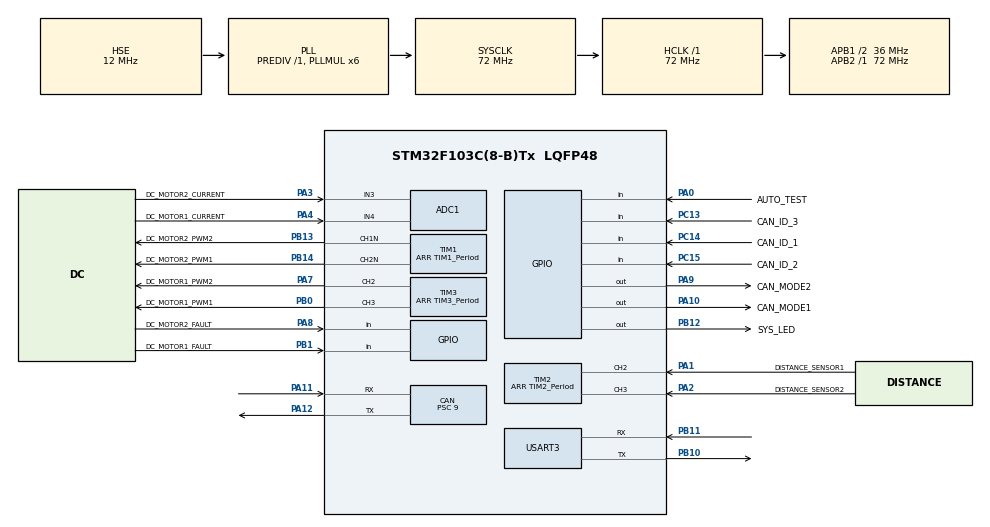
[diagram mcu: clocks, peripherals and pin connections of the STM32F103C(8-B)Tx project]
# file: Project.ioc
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ADC1.Channel-0\#ChannelRegularConversion=ADC_CHANNEL_3
ADC1.Channel-1\#ChannelRegularConversion=ADC_CHANNEL_4
ADC1.Channel-2\#ChannelRegularConversion=ADC_CHANNEL_TEMPSENSOR
ADC1.NbrOfConversion=3
ADC1.NbrOfConversionFlag=1
ADC1.Rank-0\#ChannelRegularConversion=1
ADC1.Rank-1\#ChannelRegularConversion=2
ADC1.Rank-2\#ChannelRegularConversion=3
ADC1.SamplingTime-0\#ChannelRegularConversion=ADC_SAMPLETIME_239CYCLES_5
ADC1.SamplingTime-1\#ChannelRegularConversion=ADC_SAMPLETIME_239CYCLES_5
ADC1.SamplingTime-2\#ChannelRegularConversion=ADC_SAMPLETIME_239CYCLES_5
ADC1.master=1
CAN.AWUM=ENABLE
CAN.BS1=CAN_BS1_8TQ
CAN.BS2=CAN_BS2_7TQ
CAN.CalculateBaudRate=250000
CAN.CalculateTimeBit=4000
CAN.CalculateTimeQuantum=250.0
CAN.Mode=CAN_MODE_NORMAL
CAN.Prescaler=9
CAN.RFLM=ENABLE
CAN.SJW=CAN_SJW_2TQ
CAN.TXFP=ENABLE
Dma.ADC1.2.Direction=DMA_PERIPH_TO_MEMORY
Dma.ADC1.2.Instance=DMA1_Channel1
Dma.ADC1.2.MemDataAlignment=DMA_MDATAALIGN_HALFWORD
Dma.ADC1.2.MemInc=DMA_MINC_ENABLE
Dma.ADC1.2.Mode=DMA_NORMAL
Dma.ADC1.2.PeriphDataAlignment=DMA_PDATAALIGN_HALFWORD
Dma.ADC1.2.PeriphInc=DMA_PINC_DISABLE
Dma.ADC1.2.Priority=DMA_PRIORITY_LOW
Dma.Request0=USART3_TX
Dma.Request1=USART3_RX
Dma.Request2=ADC1
Dma.USART3_RX.1.Direction=DMA_PERIPH_TO_MEMORY
Dma.USART3_RX.1.Instance=DMA1_Channel3
Dma.USART3_RX.1.MemDataAlignment=DMA_MDATAALIGN_BYTE
Dma.USART3_RX.1.MemInc=DMA_MINC_ENABLE
Dma.USART3_RX.1.Mode=DMA_NORMAL
Dma.USART3_RX.1.PeriphDataAlignment=DMA_PDATAALIGN_BYTE
Dma.USART3_RX.1.PeriphInc=DMA_PINC_DISABLE
Dma.USART3_RX.1.Priority=DMA_PRIORITY_MEDIUM
Dma.USART3_TX.0.Direction=DMA_MEMORY_TO_PERIPH
Dma.USART3_TX.0.Instance=DMA1_Channel2
Dma.USART3_TX.0.MemDataAlignment=DMA_MDATAALIGN_BYTE
Dma.USART3_TX.0.MemInc=DMA_MINC_ENABLE
Dma.USART3_TX.0.Mode=DMA_NORMAL
Dma.USART3_TX.0.PeriphDataAlignment=DMA_PDATAALIGN_BYTE
Dma.USART3_TX.0.PeriphInc=DMA_PINC_DISABLE
Dma.USART3_TX.0.Priority=DMA_PRIORITY_MEDIUM
FREERTOS.BinarySemaphores01=uart3RxBinarySem,Dynamic,NULL;ADC_IRQ_BinarySem,Dynamic,NULL
FREERTOS.Mutexes01=myMutexSendQueue,Dynamic,NULL
FREERTOS.Queues01=canReceiveData,5,12,1,Dynamic,NULL,NULL;canTransferData,20,12,1,Dynamic,NULL,NULL
FREERTOS.Tasks01=mainTask,24,256,StartMainTask,Default,NULL,Dynamic,NULL,NULL;canTask,32,256,StartCanTask,Default,NULL,Dynamic,NULL,NULL;uart3RxTask,27,256,StartUart3RxTask,Default,NULL,Dynamic,NULL,NULL;uart3TxTask,27,128,StartUart3TxTask,Default,NULL,Dynamic,NULL,NULL;adcTask,24,128,StartadcTaskTask,Default,NULL,Dynamic,NULL,NULL;canTransferTask,32,256,StartCanTransferTask,Default,NULL,Dynamic,NULL,NULL
FREERTOS.configTOTAL_HEAP_SIZE=8192
FREERTOS.configUSE_NEWLIB_REENTRANT=0
FREERTOS.configUSE_PREEMPTION=1
Mcu.Family=STM32F1
Mcu.Name=STM32F103C(8-B)Tx
Mcu.Package=LQFP48
NVIC.DMA1_Channel1_IRQn=true\:6\:0\:true\:false\:true\:true\:false\:true\:true
NVIC.DMA1_Channel2_IRQn=true\:6\:0\:true\:false\:true\:true\:false\:true\:true
NVIC.DMA1_Channel3_IRQn=true\:6\:0\:true\:false\:true\:true\:false\:true\:true
NVIC.PriorityGroup=NVIC_PRIORITYGROUP_4
NVIC.TIM2_IRQn=true\:5\:0\:false\:false\:true\:true\:true\:true\:true
NVIC.TIM4_IRQn=true\:15\:0\:false\:false\:true\:false\:true\:true\:true
NVIC.TimeBase=TIM4_IRQn
NVIC.TimeBaseIP=TIM4
NVIC.USART3_IRQn=true\:6\:0\:true\:false\:true\:true\:true\:true\:true
NVIC.USB_LP_CAN1_RX0_IRQn=true\:5\:0\:true\:false\:true\:true\:true\:true\:true
PA0-WKUP.GPIO_Label=AUTO_TEST
PA0-WKUP.GPIO_PuPd=GPIO_PULLUP
PA0-WKUP.Signal=GPIO_Input
PA1.GPIO_Label=DISTANCE_SENSOR1
PA1.Signal=S_TIM2_CH2
PA10.GPIO_Label=CAN_MODE1
PA10.PinState=GPIO_PIN_SET
PA10.Signal=GPIO_Output
PA11.Mode=CAN_Activate
PA11.Signal=CAN_RX
PA12.Mode=CAN_Activate
PA12.Signal=CAN_TX
PA13.Mode=Serial_Wire
PA13.Signal=SYS_JTMS-SWDIO
PA14.Mode=Serial_Wire
PA14.Signal=SYS_JTCK-SWCLK
PA2.GPIO_Label=DISTANCE_SENSOR2
PA2.Signal=S_TIM2_CH3
PA3.GPIO_Label=DC_MOTOR2_CURRENT
PA3.Signal=ADCx_IN3
PA4.GPIO_Label=DC_MOTOR1_CURRENT
PA4.Signal=ADCx_IN4
PA7.GPIO_Label=DC_MOTOR1_PWM2
PA7.Signal=S_TIM3_CH2
PA8.GPIO_Label=DC_MOTOR2_FAULT
PA8.Signal=GPIO_Input
PA9.GPIO_Label=CAN_MODE2
PA9.Signal=GPIO_Output
PB0.GPIO_Label=DC_MOTOR1_PWM1
PB0.GPIO_Speed=GPIO_SPEED_FREQ_MEDIUM
PB0.Signal=S_TIM3_CH3
PB1.GPIO_Label=DC_MOTOR1_FAULT
PB1.Signal=GPIO_Input
PB10.Mode=Asynchronous
PB10.Signal=USART3_TX
PB11.Mode=Asynchronous
PB11.Signal=USART3_RX
PB12.GPIO_Label=SYS_LED
PB12.PinState=GPIO_PIN_RESET
PB12.Signal=GPIO_Output
PB13.GPIO_Label=DC_MOTOR2_PWM2
PB13.GPIO_Speed=GPIO_SPEED_FREQ_MEDIUM
PB13.Mode=PWM Generation1 CH1N
PB13.Signal=TIM1_CH1N
PB14.GPIO_Label=DC_MOTOR2_PWM1
PB14.GPIO_Speed=GPIO_SPEED_FREQ_MEDIUM
PB14.Mode=PWM Generation2 CH2N
PB14.Signal=TIM1_CH2N
PC13-TAMPER-RTC.GPIO_Label=CAN_ID_3
PC13-TAMPER-RTC.Signal=GPIO_Input
PC14-OSC32_IN.GPIO_Label=CAN_ID_1
PC14-OSC32_IN.Signal=GPIO_Input
PC15-OSC32_OUT.GPIO_Label=CAN_ID_2
PC15-OSC32_OUT.Signal=GPIO_Input
PD0-OSC_IN.Mode=HSE-External-Oscillator
PD0-OSC_IN.Signal=RCC_OSC_IN
PD1-OSC_OUT.Mode=HSE-External-Oscillator
PD1-OSC_OUT.Signal=RCC_OSC_OUT
ProjectManager.HeapSize=0x400
ProjectManager.StackSize=0x400
ProjectManager.TargetToolchain=MDK-ARM V5.32
RCC.ADCPresc=RCC_ADCPCLK2_DIV6
RCC.AHBFreq_Value=72000000
RCC.APB1CLKDivider=RCC_HCLK_DIV2
RCC.APB1Freq_Value=36000000
RCC.APB1TimFreq_Value=72000000
RCC.APB2Freq_Value=72000000
RCC.APB2TimFreq_Value=72000000
RCC.HCLKFreq_Value=72000000
RCC.HSE_VALUE=12000000
RCC.PLLMUL=RCC_PLL_MUL6
RCC.PLLSourceVirtual=RCC_PLLSOURCE_HSE
RCC.SYSCLKFreq_VALUE=72000000
RCC.SYSCLKSource=RCC_SYSCLKSOURCE_PLLCLK
RCC.USBFreq_Value=72000000
SH.ADCx_IN3.0=ADC1_IN3,IN3
SH.ADCx_IN4.0=ADC1_IN4,IN4
SH.S_TIM2_CH2.0=TIM2_CH2,Input_Capture2_from_TI2
SH.S_TIM2_CH3.0=TIM2_CH3,Input_Capture3_from_TI3
SH.S_TIM3_CH2.0=TIM3_CH2,PWM Generation2 CH2
SH.S_TIM3_CH3.0=TIM3_CH3,PWM Generation3 CH3
TIM1.AutoReloadPreload=TIM_AUTORELOAD_PRELOAD_ENABLE
TIM1.Channel-PWM\ Generation1\ CH1N=TIM_CHANNEL_1
TIM1.Channel-PWM\ Generation2\ CH2N=TIM_CHANNEL_2
TIM1.Period=TIM1_Period
TIM1.Prescaler=TIM1_Prescaler
TIM1.Pulse-PWM\ Generation1\ CH1N=70
TIM1.Pulse-PWM\ Generation2\ CH2N=70
TIM2.AutoReloadPreload=TIM_AUTORELOAD_PRELOAD_ENABLE
TIM2.Channel-Input_Capture2_from_TI2=TIM_CHANNEL_2
TIM2.Channel-Input_Capture3_from_TI3=TIM_CHANNEL_3
TIM2.Period=TIM2_Period
TIM2.Prescaler=TIM2_Prescaler
TIM3.AutoReloadPreload=TIM_AUTORELOAD_PRELOAD_ENABLE
TIM3.Channel-PWM\ Generation2\ CH2=TIM_CHANNEL_2
TIM3.Channel-PWM\ Generation3\ CH3=TIM_CHANNEL_3
TIM3.Period=TIM3_Period
TIM3.Prescaler=TIM3_Prescaler
USART3.BaudRate=Uart3BaudRate
USART3.VirtualMode=VM_ASYNC
VP_ADC1_TempSens_Input.Mode=IN-TempSens
VP_FREERTOS_VS_CMSIS_V2.Mode=CMSIS_V2
VP_SYS_VS_tim4.Mode=TIM4
VP_TIM1_VS_ClockSourceINT.Mode=Internal
VP_TIM3_VS_ClockSourceINT.Mode=Internal
board=custom

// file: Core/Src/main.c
/* USER CODE BEGIN Header */
/**
  ******************************************************************************
  * @file           : main.c
  * @brief          : Main program body
  ******************************************************************************
  * @attention
  *
  * Copyright (c) 2023 STMicroelectronics.
  * All rights reserved.
  *
  * This software is licensed under terms that can be found in the LICENSE file
  * in the root directory of this software component.
  * If no LICENSE file comes with this software, it is provided AS-IS.
  *
  ******************************************************************************
  */
/* USER CODE END Header */
#include "main.h"
#include "cmsis_os.h"
#include "adc.h"
#include "can.h"
#include "dma.h"
#include "tim.h"
#include "usart.h"
#include "gpio.h"

/* USER CODE BEGIN Includes */
#include "user_uart3.h"
#include "user_can.h"
#include "user_tim.h"
#include "user_adc.h"
#include "user_motor.h"

/* USER CODE END Includes */

/* USER CODE BEGIN PV */
extern tim_capture_t distance_inport2_pwm;
extern tim_capture_t distance_inport1_pwm;

/* USER CODE END PV */

void SystemClock_Config(void);
void MX_FREERTOS_Init(void);

int main(void)
{

  /* MCU Configuration--------------------------------------------------------*/

  /* Reset of all peripherals, Initializes the Flash interface and the Systick. */
  HAL_Init();

  /* Configure the system clock */
  SystemClock_Config();

  /* Initialize all configured peripherals */
  MX_GPIO_Init();
  MX_DMA_Init();
  MX_USART3_UART_Init();
  MX_TIM1_Init();
  MX_TIM3_Init();
  MX_CAN_Init();
  MX_ADC1_Init();
  MX_TIM2_Init();
  /* USER CODE BEGIN 2 */
  user_gpio_init();
  user_data_init();
  user_can_init();
  user_tim_init();
  user_adj_motor_init();
  user_adc_init();

  /* USER CODE END 2 */

  /* Init scheduler */
  osKernelInitialize();

  /* Call init function for freertos objects (in cmsis_os2.c) */
  MX_FREERTOS_Init();

  /* Start scheduler */
  osKernelStart();

  /* We should never get here as control is now taken by the scheduler */

  /* Infinite loop */
  while (1)
  {

  }
}

void SystemClock_Config(void)
{
  RCC_OscInitTypeDef RCC_OscInitStruct = {0};
  RCC_ClkInitTypeDef RCC_ClkInitStruct = {0};
  RCC_PeriphCLKInitTypeDef PeriphClkInit = {0};

  /** Initializes the RCC Oscillators according to the specified parameters
  * in the RCC_OscInitTypeDef structure.
  */
  RCC_OscInitStruct.OscillatorType = RCC_OSCILLATORTYPE_HSE;
  RCC_OscInitStruct.HSEState = RCC_HSE_ON;
  RCC_OscInitStruct.HSEPredivValue = RCC_HSE_PREDIV_DIV1;
  RCC_OscInitStruct.HSIState = RCC_HSI_ON;
  RCC_OscInitStruct.PLL.PLLState = RCC_PLL_ON;
  RCC_OscInitStruct.PLL.PLLSource = RCC_PLLSOURCE_HSE;
  RCC_OscInitStruct.PLL.PLLMUL = RCC_PLL_MUL6;
  if (HAL_RCC_OscConfig(&RCC_OscInitStruct) != HAL_OK)
  {
    Error_Handler();
  }

  /** Initializes the CPU, AHB and APB buses clocks
  */
  RCC_ClkInitStruct.ClockType = RCC_CLOCKTYPE_HCLK|RCC_CLOCKTYPE_SYSCLK
                              |RCC_CLOCKTYPE_PCLK1|RCC_CLOCKTYPE_PCLK2;
  RCC_ClkInitStruct.SYSCLKSource = RCC_SYSCLKSOURCE_PLLCLK;
  RCC_ClkInitStruct.AHBCLKDivider = RCC_SYSCLK_DIV1;
  RCC_ClkInitStruct.APB1CLKDivider = RCC_HCLK_DIV2;
  RCC_ClkInitStruct.APB2CLKDivider = RCC_HCLK_DIV1;

  if (HAL_RCC_ClockConfig(&RCC_ClkInitStruct, FLASH_LATENCY_2) != HAL_OK)
  {
    Error_Handler();
  }
  PeriphClkInit.PeriphClockSelection = RCC_PERIPHCLK_ADC;
  PeriphClkInit.AdcClockSelection = RCC_ADCPCLK2_DIV6;
  if (HAL_RCCEx_PeriphCLKConfig(&PeriphClkInit) != HAL_OK)
  {
    Error_Handler();
  }
}

void HAL_TIM_PeriodElapsedCallback(TIM_HandleTypeDef *htim)
{
  if (htim->Instance == TIM4) {
    HAL_IncTick();
  }
}

void Error_Handler(void)
{
  __disable_irq();
  while (1)
  {
  }
}

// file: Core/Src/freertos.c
/* USER CODE BEGIN Header */
/**
  ******************************************************************************
  * File Name          : freertos.c
  * Description        : Code for freertos applications
  ******************************************************************************
  * @attention
  *
  * Copyright (c) 2023 STMicroelectronics.
  * All rights reserved.
  *
  * This software is licensed under terms that can be found in the LICENSE file
  * in the root directory of this software component.
  * If no LICENSE file comes with this software, it is provided AS-IS.
  *
  ******************************************************************************
  */
/* USER CODE END Header */

#include "FreeRTOS.h"
#include "task.h"
#include "main.h"
#include "cmsis_os.h"

/* USER CODE BEGIN Includes */
#include "user_uart3.h"
#include "user_can.h"
#include "user_adc.h"
#include "user_motor.h"
#include "database.h"

/* USER CODE END Includes */

/* Definitions for mainTask */
osThreadId_t mainTaskHandle;
const osThreadAttr_t mainTask_attributes = {
  .name = "mainTask",
  .stack_size = 256 * 4,
  .priority = (osPriority_t) osPriorityNormal,
};
/* Definitions for canTask */
osThreadId_t canTaskHandle;
const osThreadAttr_t canTask_attributes = {
  .name = "canTask",
  .stack_size = 256 * 4,
  .priority = (osPriority_t) osPriorityAboveNormal,
};
/* Definitions for uart3RxTask */
osThreadId_t uart3RxTaskHandle;
const osThreadAttr_t uart3RxTask_attributes = {
  .name = "uart3RxTask",
  .stack_size = 256 * 4,
  .priority = (osPriority_t) osPriorityNormal3,
};
/* Definitions for uart3TxTask */
osThreadId_t uart3TxTaskHandle;
const osThreadAttr_t uart3TxTask_attributes = {
  .name = "uart3TxTask",
  .stack_size = 128 * 4,
  .priority = (osPriority_t) osPriorityNormal3,
};
/* Definitions for adcTask */
osThreadId_t adcTaskHandle;
const osThreadAttr_t adcTask_attributes = {
  .name = "adcTask",
  .stack_size = 128 * 4,
  .priority = (osPriority_t) osPriorityNormal,
};
/* Definitions for canTransferTask */
osThreadId_t canTransferTaskHandle;
const osThreadAttr_t canTransferTask_attributes = {
  .name = "canTransferTask",
  .stack_size = 256 * 4,
  .priority = (osPriority_t) osPriorityAboveNormal,
};
/* Definitions for canReceiveData */
osMessageQueueId_t canReceiveDataHandle;
const osMessageQueueAttr_t canReceiveData_attributes = {
  .name = "canReceiveData"
};
/* Definitions for canTransferData */
osMessageQueueId_t canTransferDataHandle;
const osMessageQueueAttr_t canTransferData_attributes = {
  .name = "canTransferData"
};
/* Definitions for myMutexSendQueue */
osMutexId_t myMutexSendQueueHandle;
const osMutexAttr_t myMutexSendQueue_attributes = {
  .name = "myMutexSendQueue"
};
/* Definitions for uart3RxBinarySem */
osSemaphoreId_t uart3RxBinarySemHandle;
const osSemaphoreAttr_t uart3RxBinarySem_attributes = {
  .name = "uart3RxBinarySem"
};
/* Definitions for ADC_IRQ_BinarySem */
osSemaphoreId_t ADC_IRQ_BinarySemHandle;
const osSemaphoreAttr_t ADC_IRQ_BinarySem_attributes = {
  .name = "ADC_IRQ_BinarySem"
};

void StartMainTask(void *argument);
void StartCanTask(void *argument);
void StartUart3RxTask(void *argument);
void StartUart3TxTask(void *argument);
void StartadcTaskTask(void *argument);
void StartCanTransferTask(void *argument);

void MX_FREERTOS_Init(void); /* (MISRA C 2004 rule 8.1) */

void MX_FREERTOS_Init(void) {
  /* Create the mutex(es) */
  /* creation of myMutexSendQueue */
  myMutexSendQueueHandle = osMutexNew(&myMutexSendQueue_attributes);

  /* Create the semaphores(s) */
  /* creation of uart3RxBinarySem */
  uart3RxBinarySemHandle = osSemaphoreNew(1, 0, &uart3RxBinarySem_attributes);

  /* creation of ADC_IRQ_BinarySem */
  ADC_IRQ_BinarySemHandle = osSemaphoreNew(1, 0, &ADC_IRQ_BinarySem_attributes);

  /* USER CODE BEGIN RTOS_SEMAPHORES */
  if(uart3RxBinarySemHandle == NULL || ADC_IRQ_BinarySemHandle == NULL)
  {
	  while(1)
	  {

	  }
  }
  /* add semaphores, ... */
  /* USER CODE END RTOS_SEMAPHORES */

  /* Create the queue(s) */
  /* creation of canReceiveData */
  canReceiveDataHandle = osMessageQueueNew (5, 12, &canReceiveData_attributes);

  /* creation of canTransferData */
  canTransferDataHandle = osMessageQueueNew (20, 12, &canTransferData_attributes);

  /* USER CODE BEGIN RTOS_QUEUES */
  while(canReceiveDataHandle == NULL)
  {

  }
  while(canTransferDataHandle == NULL)
  {

  }
  /* add queues, ... */
  /* USER CODE END RTOS_QUEUES */

  /* Create the thread(s) */
  /* creation of mainTask */
  mainTaskHandle = osThreadNew(StartMainTask, NULL, &mainTask_attributes);

  /* creation of canTask */
  canTaskHandle = osThreadNew(StartCanTask, NULL, &canTask_attributes);

  /* creation of uart3RxTask */
  uart3RxTaskHandle = osThreadNew(StartUart3RxTask, NULL, &uart3RxTask_attributes);

  /* creation of uart3TxTask */
  uart3TxTaskHandle = osThreadNew(StartUart3TxTask, NULL, &uart3TxTask_attributes);

  /* creation of adcTask */
  adcTaskHandle = osThreadNew(StartadcTaskTask, NULL, &adcTask_attributes);

  /* creation of canTransferTask */
  canTransferTaskHandle = osThreadNew(StartCanTransferTask, NULL, &canTransferTask_attributes);

}

void StartMainTask(void *argument)
{
  /* USER CODE BEGIN StartMainTask */
    static TickType_t Main_tick;

    Main_tick = xTaskGetTickCount();

  /* Infinite loop */
  for(;;)
  {
	  adj_motor_handler();
	  basedata_queue_handler();
	  node_guarding_check();
	  vTaskDelayUntil(&Main_tick, pdMS_TO_TICKS(5));//绝对延时
//	  osDelay(10);
  }
  /* USER CODE END StartMainTask */
}

void StartCanTask(void *argument)
{
  /* USER CODE BEGIN StartCanTask */
  /* Infinite loop */
  for(;;)
  {
	  user_can_RX_handler();
//    osDelay(1);
  }
  /* USER CODE END StartCanTask */
}

void StartUart3RxTask(void *argument)
{
  /* USER CODE BEGIN StartUart3RxTask */
	osSemaphoreAcquire(uart3RxBinarySemHandle, 0);
	user_uart3_init();
  /* Infinite loop */
  for(;;)
  {
	  uart3_rx_handler();
//    osDelay(1);
  }
  /* USER CODE END StartUart3RxTask */
}

void StartUart3TxTask(void *argument)
{
  /* USER CODE BEGIN StartUart3TxTask */
    static TickType_t tick;

    tick = xTaskGetTickCount();
    osDelay(10);
  /* Infinite loop */
	for(;;)
	{
#if TEST_CAN_USART == 0
		uart3_tx_handler();
#endif
		vTaskDelayUntil(&tick, pdMS_TO_TICKS(1));//绝对延时
	}
  /* USER CODE END StartUart3TxTask */
}

void StartadcTaskTask(void *argument)
{
  /* USER CODE BEGIN StartadcTaskTask */
	osSemaphoreAcquire(ADC_IRQ_BinarySemHandle, 0);
	adc_start();//�???????始采�???????

  /* Infinite loop */
  for(;;)
  {
	  adc_buff_handler();
//    osDelay(1);
  }
  /* USER CODE END StartadcTaskTask */
}

void StartCanTransferTask(void *argument)
{
  /* USER CODE BEGIN StartCanTransferTask */
  /* Infinite loop */
  for(;;)
  {
	  CAN_transfer_queue_handler();
//    osDelay(5);
  }
  /* USER CODE END StartCanTransferTask */
}
